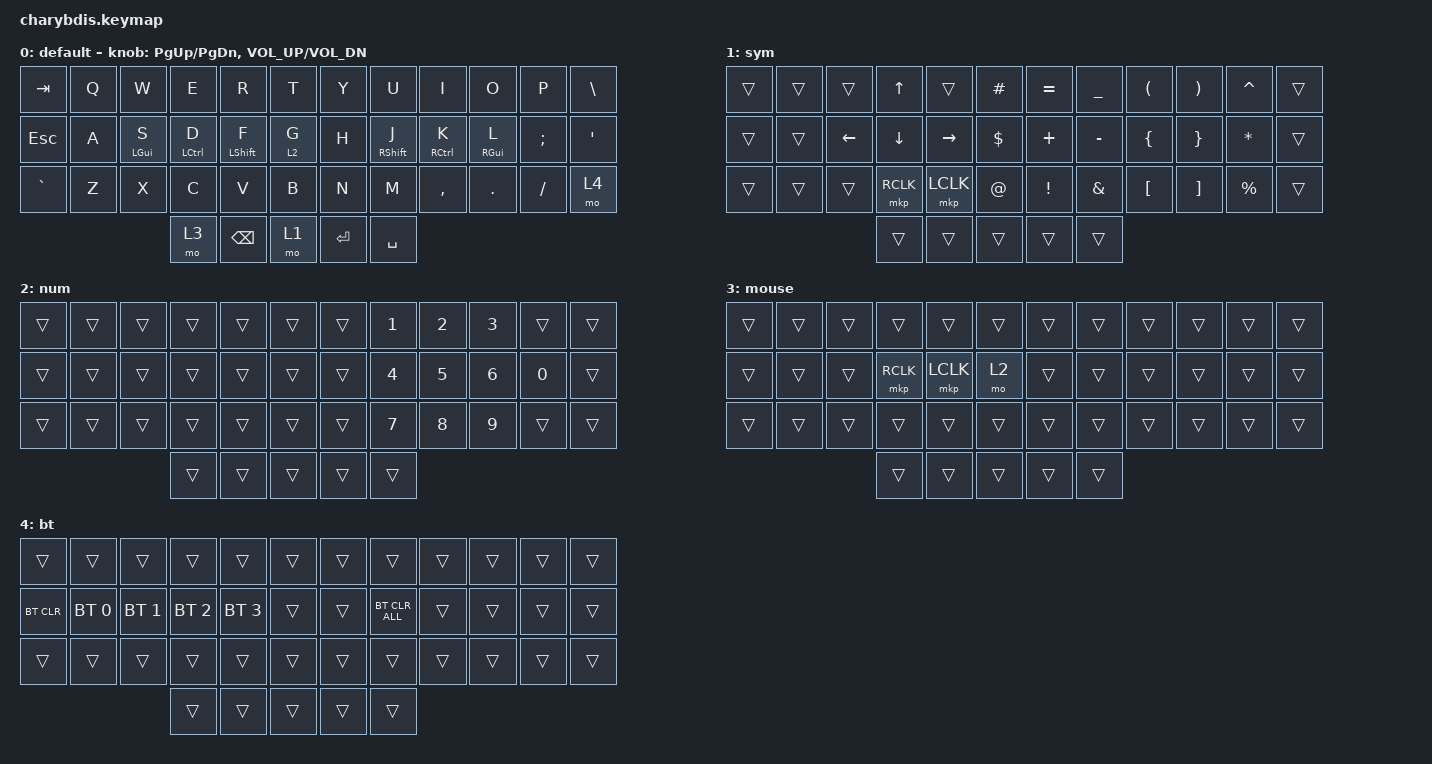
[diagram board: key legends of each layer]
#include <behaviors.dtsi>
#include <dt-bindings/zmk/bt.h>
#include <dt-bindings/zmk/keys.h>
#include <dt-bindings/zmk/pointing.h>
#include <dt-bindings/zmk/rgb.h>

/ {
    macros {
        To1_macro: To1_macro {
            compatible = "zmk,behavior-macro";
            label = "To1_macro";
            #binding-cells = <0>;
            bindings = <&rgb_ug RGB_EFF &rgb_ug RGB_COLOR_HSB(128,100,50) &to 1>;
        };

        To0_macro: To0_macro {
            compatible = "zmk,behavior-macro";
            label = "To0_macro";
            #binding-cells = <0>;
            bindings = <&rgb_ug RGB_EFR &to 0>;
        };

        To2_macro: To2_macro {
            compatible = "zmk,behavior-macro";
            label = "To2_macro";
            #binding-cells = <0>;
            bindings =
                <&to 0>,
                <&macro_wait_time 30>,
                <&rgb_ug RGB_COLOR_HSB(250,100,50)>;
        };
    };

    behaviors {
        hml: hml {
            compatible = "zmk,behavior-hold-tap";
            label = "HML";
            bindings = <&kp>, <&kp>;

            #binding-cells = <2>;
            tapping-term-ms = <280>;
            quick-tap-ms = <175>;
            require-prior-idle-ms = <150>;
            flavor = "balanced";
            hold-trigger-key-positions = <6 7 8 9 10 11 18 19 20 21 22 23 30 31 32 33 34 35 39 40>;
            hold-trigger-on-release;
        };

        hmr: hmr {
            compatible = "zmk,behavior-hold-tap";
            label = "HMR";
            bindings = <&kp>, <&kp>;

            #binding-cells = <2>;
            tapping-term-ms = <280>;
            quick-tap-ms = <175>;
            require-prior-idle-ms = <150>;
            flavor = "balanced";
            hold-trigger-key-positions = <0 1 2 3 4 5 12 13 14 15 16 17 24 25 26 27 28 29 36 37 38>;
            hold-trigger-on-release;
        };

        hml_layer: hml_layer {
            compatible = "zmk,behavior-hold-tap";
            label = "HML_LAYER";
            bindings = <&mo>, <&kp>;

            #binding-cells = <2>;
            tapping-term-ms = <280>;
            quick-tap-ms = <175>;
            require-prior-idle-ms = <150>;
            flavor = "balanced";
            hold-trigger-key-positions = <6 7 8 9 10 11 18 19 20 21 22 23 30 31 32 33 34 35 39 40>;
            hold-trigger-on-release;
        };
    };

    keymap {
        compatible = "zmk,keymap";

        default {
            bindings = <
&kp TAB     &kp Q  &kp W        &kp E         &kp R              &kp T             &kp Y      &kp U         &kp I                 &kp O        &kp P          &kp BACKSLASH
&kp ESCAPE  &kp A  &hml LGUI S  &hml LCTRL D  &hml LEFT_SHIFT F  &hml_layer 2 G    &kp H      &hmr RSHFT J  &hmr RIGHT_CONTROL K  &hmr RGUI L  &kp SEMICOLON  &kp SINGLE_QUOTE
&kp GRAVE   &kp Z  &kp X        &kp C         &kp V              &kp B             &kp N      &kp M         &kp COMMA             &kp PERIOD   &kp SLASH      &mo 4
                                &mo 3         &kp BACKSPACE      &mo 1             &kp ENTER  &kp SPACE
            >;

            sensor-bindings = <&inc_dec_kp PG_UP PG_DN &inc_dec_kp C_VOL_UP C_VOL_DN>;
        };

        sym {
            bindings = <
&trans  &trans  &trans    &kp UP_ARROW  &trans     &kp HASH       &kp EQUAL        &kp UNDERSCORE  &kp LEFT_PARENTHESIS  &kp RIGHT_PARENTHESIS  &kp CARET     &trans
&trans  &trans  &kp LEFT  &kp DOWN      &kp RIGHT  &kp DOLLAR     &kp PLUS         &kp MINUS       &kp LEFT_BRACE        &kp RIGHT_BRACE        &kp ASTERISK  &trans
&trans  &trans  &trans    &mkp RCLK     &mkp LCLK  &kp AT_SIGN    &kp EXCLAMATION  &kp AMPERSAND   &kp LEFT_BRACKET      &kp RIGHT_BRACKET      &kp PERCENT   &trans
                          &trans        &trans     &trans         &trans           &trans
            >;
        };

        num {
            bindings = <
&trans  &trans  &trans  &trans  &trans  &trans    &trans  &kp NUMBER_1  &kp NUMBER_2  &kp NUMBER_3  &trans        &trans
&trans  &trans  &trans  &trans  &trans  &trans    &trans  &kp NUMBER_4  &kp NUMBER_5  &kp NUMBER_6  &kp NUMBER_0  &trans
&trans  &trans  &trans  &trans  &trans  &trans    &trans  &kp NUMBER_7  &kp NUMBER_8  &kp NUMBER_9  &trans        &trans
                        &trans  &trans  &trans    &trans  &trans
            >;
        };

        mouse {
            bindings = <
&trans  &trans  &trans  &trans     &trans     &trans    &trans  &trans  &trans  &trans  &trans  &trans
&trans  &trans  &trans  &mkp RCLK  &mkp LCLK  &mo 2     &trans  &trans  &trans  &trans  &trans  &trans
&trans  &trans  &trans  &trans     &trans     &trans    &trans  &trans  &trans  &trans  &trans  &trans
                        &trans     &trans     &trans    &trans  &trans
            >;
        };

        bt {
            bindings = <
&trans      &trans        &trans        &trans        &trans        &trans    &trans  &trans          &trans  &trans  &trans  &trans
&bt BT_CLR  &bt BT_SEL 0  &bt BT_SEL 1  &bt BT_SEL 2  &bt BT_SEL 3  &trans    &trans  &bt BT_CLR_ALL  &trans  &trans  &trans  &trans
&trans      &trans        &trans        &trans        &trans        &trans    &trans  &trans          &trans  &trans  &trans  &trans
                                        &trans        &trans        &trans    &trans  &trans
            >;
        };

        /* layer_2 {
            bindings = <
&none  &none   &none    &none   &none         &none         &kp N1         &none         &none     &none  &none   &to 0
&none  &none   &none    &none   &none         &none         &none         &none          &rgb_ug RGB_BRD &rgb_ug RGB_BRI  &rgb_ug RGB_EFF   &rgb_ug RGB_TOG
&none  &none   &none    &none   &none         &none         &none         &mkp LCLK     &mkp RCLK  &none  &none   &none
&none  &none   &none    &none   &bt BT_NXT  &bt BT_CLR    &none         &none         &none     &none  &none   &none
                                   &none         &none         &none         &none         &none
                                                 &none         &none         &none
            >;
       
            
        };

       Mouse {
            bindings = <
&none        &none         &none         &none         &none      &none         &none       &none      &none         &none         &none         &none
&none        &bt BT_SEL 0  &bt BT_SEL 1  &bt BT_SEL 3  &none      &bt BT_CLR    &bt BT_CLR  &none      &bt BT_SEL 2  &bt BT_SEL 1  &bt BT_SEL 0  &none
&none        &trans        &trans        &mkp MCLK     &trans     &none         &none       &trans     &mkp MCLK     &trans        &trans        &none
&bootloader  &trans        &mkp RCLK     &mo 4         &mkp LCLK  &mo 5         &mo 5       &mkp LCLK  &mo 4         &mkp RCLK     &trans        &bootloader
                                         &mo 5         &mkp LCLK  &mkp RCLK     &mkp RCLK   &mkp LCLK
                                                       &none      &trans        &trans
            >;

            
        };

        layer_4 {
            bindings = <
&trans  &trans  &trans     &trans     &trans     &trans       &trans     &trans     &trans     &trans     &trans  &trans
&trans  &trans  &trans     &trans     &trans     &trans       &trans     &trans     &trans     &trans     &trans  &trans
&trans  &trans  &trans     &mkp MCLK  &trans     &trans       &trans     &trans     &mkp MCLK  &trans     &trans  &trans
&trans  &trans  &mkp RCLK  &trans     &mkp LCLK  &trans       &trans     &mkp LCLK  &trans     &mkp RCLK  &trans  &trans
                           &trans     &mkp LCLK  &mkp RCLK    &mkp RCLK  &mkp LCLK
                                      &trans     &trans       &trans
            >;
                
                
               
        };

        layer_5 {
            bindings = <
&trans  &trans  &trans     &trans     &trans     &trans       &trans     &trans     &trans     &trans     &trans  &trans
&trans  &trans  &trans     &trans     &trans     &trans       &trans     &trans     &trans     &trans     &trans  &trans
&trans  &trans  &trans     &mkp MCLK  &trans     &trans       &trans     &trans     &mkp MCLK  &trans     &trans  &trans
&trans  &trans  &mkp RCLK  &trans     &mkp LCLK  &trans       &trans     &mkp LCLK  &trans     &mkp RCLK  &trans  &trans
                           &trans     &mkp LCLK  &mkp RCLK    &mkp RCLK  &mkp LCLK
                                      &trans     &trans       &trans
            >;
                
                
        };*/
    };
};
